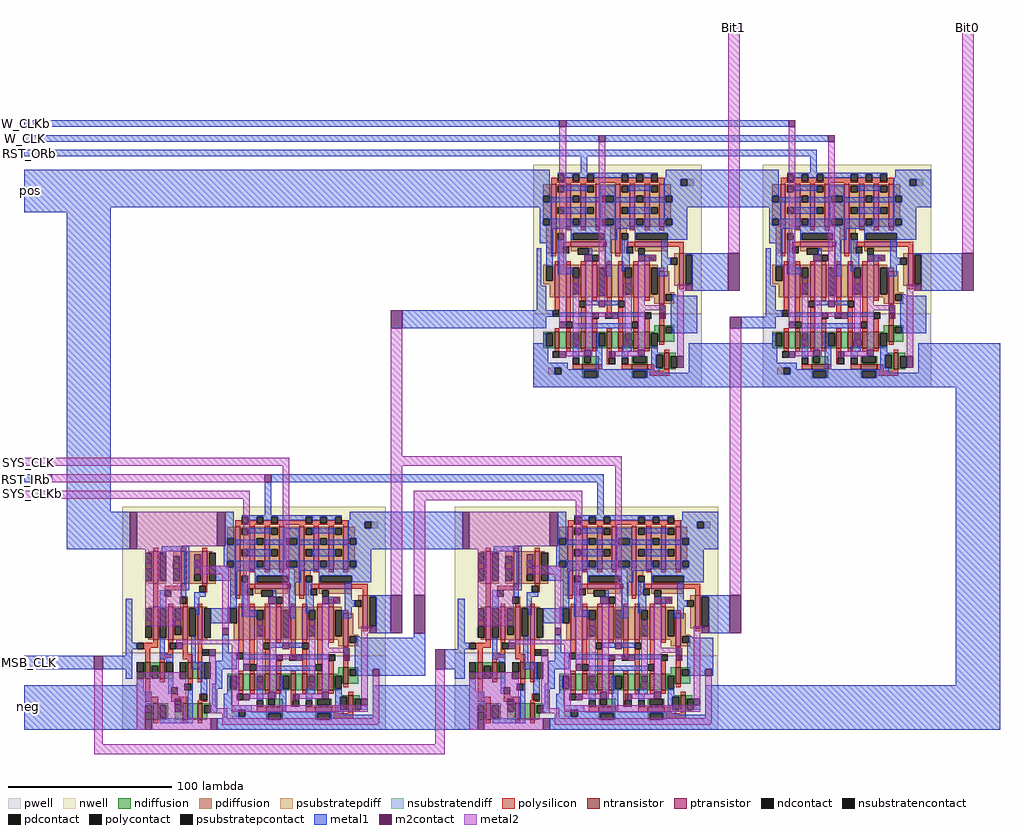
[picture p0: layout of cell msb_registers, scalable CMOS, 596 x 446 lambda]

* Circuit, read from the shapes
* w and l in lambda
.subckt msb_registers Bit0 Bit1 MSB_CLK RST_IRb RST_ORb SYS_CLK SYS_CLKb W_CLK W_CLKb neg pos
M1 n1 MSB_CLK neg neg nfet w=10 l=3
M2 n2 MSB_CLK neg neg nfet w=10 l=3
M3 n3 ToggleFlipFlop_Low_Layout_0/Clk n1 neg nfet w=10 l=3
M4 n4 n3 neg neg nfet w=10 l=3
M5 n5 n2 neg neg nfet w=10 l=3
M6 n6 n7 n4 neg nfet w=10 l=3
M7 n7 ToggleFlipFlop_Low_Layout_0/ClkB n5 neg nfet w=10 l=3
M8 n8 n9 neg neg nfet w=10 l=3
M9 n10 SYS_CLKb n8 neg nfet w=10 l=3
M10 n11 SYS_CLK n10 neg nfet w=10 l=3
M11 n9 n10 neg neg nfet w=10 l=3
M12 neg n6 n11 neg nfet w=10 l=3
M13 n12 n13 neg neg nfet w=10 l=3
M14 n14 SYS_CLK n12 neg nfet w=10 l=3
M15 n13 n14 neg neg nfet w=10 l=3
M16 n15 SYS_CLKb n14 neg nfet w=10 l=3
M17 neg n9 n15 neg nfet w=10 l=3
M18 ToggleFlipFlop_Low_Layout_0/ClkB n13 neg neg nfet w=10 l=3
M19 ToggleFlipFlop_Low_Layout_0/Clk n14 neg neg nfet w=10 l=3
M20 n16 MSB_CLK neg neg nfet w=10 l=3
M21 n17 MSB_CLK neg neg nfet w=10 l=3
M22 n18 ResetFlipFlop_Low_Layout_1/D n16 neg nfet w=10 l=3
M23 n19 n18 neg neg nfet w=10 l=3
M24 n20 n17 neg neg nfet w=10 l=3
M25 n21 n22 n19 neg nfet w=10 l=3
M26 n22 ToggleFlipFlop_Low_Layout_0/Qb n20 neg nfet w=10 l=3
M27 n23 n24 neg neg nfet w=10 l=3
M28 n25 W_CLKb n23 neg nfet w=10 l=3
M29 n26 n27 neg neg nfet w=10 l=3
M30 n28 W_CLK n25 neg nfet w=10 l=3
M31 n29 ToggleFlipFlop_Low_Layout_0/ClkB n26 neg nfet w=10 l=3
M32 n24 n25 neg neg nfet w=10 l=3
M33 neg ToggleFlipFlop_Low_Layout_0/Clk n28 neg nfet w=10 l=3
M34 n30 ToggleFlipFlop_Low_Layout_0/Clk n29 neg nfet w=10 l=3
M35 n27 n29 neg neg nfet w=10 l=3
M36 n31 n32 neg neg nfet w=10 l=3
M37 neg n21 n30 neg nfet w=10 l=3
M38 n33 W_CLK n31 neg nfet w=10 l=3
M39 n34 n35 neg neg nfet w=10 l=3
M40 n32 n33 neg neg nfet w=10 l=3
M41 n36 W_CLKb n33 neg nfet w=10 l=3
M42 n37 ToggleFlipFlop_Low_Layout_0/Clk n34 neg nfet w=10 l=3
M43 neg n24 n36 neg nfet w=10 l=3
M44 n35 n37 neg neg nfet w=10 l=3
M45 n38 ToggleFlipFlop_Low_Layout_0/ClkB n37 neg nfet w=10 l=3
M46 ResetFlipFlop_Low_Layout_0/Qb n32 neg neg nfet w=10 l=3
M47 neg n27 n38 neg nfet w=10 l=3
M48 Bit1 n33 neg neg nfet w=10 l=3
M49 ToggleFlipFlop_Low_Layout_0/Qb n35 neg neg nfet w=10 l=3
M50 ResetFlipFlop_Low_Layout_1/D n37 neg neg nfet w=10 l=3
M51 n39 n40 neg neg nfet w=10 l=3
M52 n41 W_CLKb n39 neg nfet w=10 l=3
M53 n42 W_CLK n41 neg nfet w=10 l=3
M54 n40 n41 neg neg nfet w=10 l=3
M55 neg ResetFlipFlop_Low_Layout_1/D n42 neg nfet w=10 l=3
M56 n43 n44 neg neg nfet w=10 l=3
M57 n45 W_CLK n43 neg nfet w=10 l=3
M58 n44 n45 neg neg nfet w=10 l=3
M59 n46 W_CLKb n45 neg nfet w=10 l=3
M60 neg n40 n46 neg nfet w=10 l=3
M61 ResetFlipFlop_Low_Layout_1/Qb n44 neg neg nfet w=10 l=3
M62 Bit0 n45 neg neg nfet w=10 l=3
M63 n3 MSB_CLK pos pos pfet w=20 l=3
M64 n2 MSB_CLK pos pos pfet w=20 l=3
M65 pos ToggleFlipFlop_Low_Layout_0/Clk n3 pos pfet w=20 l=3
M66 n6 n3 pos pos pfet w=20 l=3
M67 n7 n2 pos pos pfet w=20 l=3
M68 pos ToggleFlipFlop_Low_Layout_0/ClkB n7 pos pfet w=20 l=3
M69 pos n7 n6 pos pfet w=20 l=3
M70 n10 RST_IRb pos pos pfet w=42 l=3
M71 n47 n6 pos pos pfet w=20 l=3
M72 n10 SYS_CLKb n47 pos pfet w=20 l=3
M73 pos RST_IRb n10 pos pfet w=26 l=3 m=3
M74 pos n10 n9 pos pfet w=20 l=3
M75 n48 SYS_CLK n10 pos pfet w=20 l=3
M76 pos n9 n48 pos pfet w=20 l=3
M77 n49 n9 pos pos pfet w=20 l=3
M78 n14 RST_IRb pos pos pfet w=42 l=3
M79 n14 SYS_CLK n49 pos pfet w=20 l=3
M80 pos RST_IRb n14 pos pfet w=26 l=3 m=3
M81 n50 SYS_CLKb n14 pos pfet w=20 l=3
M82 pos n14 n13 pos pfet w=20 l=3
M83 pos n13 n50 pos pfet w=20 l=3
M84 ToggleFlipFlop_Low_Layout_0/ClkB n13 pos pos pfet w=20 l=3
M85 ToggleFlipFlop_Low_Layout_0/Clk n14 pos pos pfet w=20 l=3
M86 n18 MSB_CLK pos pos pfet w=20 l=3
M87 n17 MSB_CLK pos pos pfet w=20 l=3
M88 pos ResetFlipFlop_Low_Layout_1/D n18 pos pfet w=20 l=3
M89 n21 n18 pos pos pfet w=20 l=3
M90 n22 n17 pos pos pfet w=20 l=3
M91 pos ToggleFlipFlop_Low_Layout_0/Qb n22 pos pfet w=20 l=3
M92 pos n22 n21 pos pfet w=20 l=3
M93 n25 RST_ORb pos pos pfet w=42 l=3
M94 n51 ToggleFlipFlop_Low_Layout_0/Clk pos pos pfet w=20 l=3
M95 n25 W_CLKb n51 pos pfet w=20 l=3
M96 pos RST_ORb n25 pos pfet w=26 l=3 m=3
M97 n29 RST_IRb pos pos pfet w=42 l=3
M98 n52 n21 pos pos pfet w=20 l=3
M99 pos n25 n24 pos pfet w=20 l=3
M100 n53 W_CLK n25 pos pfet w=20 l=3
M101 n29 ToggleFlipFlop_Low_Layout_0/ClkB n52 pos pfet w=20 l=3
M102 pos RST_IRb n29 pos pfet w=26 l=3 m=3
M103 pos n29 n27 pos pfet w=20 l=3
M104 pos n24 n53 pos pfet w=20 l=3
M105 n54 ToggleFlipFlop_Low_Layout_0/Clk n29 pos pfet w=20 l=3
M106 n55 n24 pos pos pfet w=20 l=3
M107 pos n27 n54 pos pfet w=20 l=3
M108 n33 RST_ORb pos pos pfet w=42 l=3
M109 n33 W_CLK n55 pos pfet w=20 l=3
M110 n56 n27 pos pos pfet w=20 l=3
M111 pos RST_ORb n33 pos pfet w=26 l=3 m=3
M112 n37 RST_IRb pos pos pfet w=42 l=3
M113 n57 W_CLKb n33 pos pfet w=20 l=3
M114 n37 ToggleFlipFlop_Low_Layout_0/Clk n56 pos pfet w=20 l=3
M115 pos n33 n32 pos pfet w=20 l=3
M116 pos n32 n57 pos pfet w=20 l=3
M117 pos RST_IRb n37 pos pfet w=26 l=3 m=3
M118 n58 ToggleFlipFlop_Low_Layout_0/ClkB n37 pos pfet w=20 l=3
M119 pos n37 n35 pos pfet w=20 l=3
M120 ResetFlipFlop_Low_Layout_0/Qb n32 pos pos pfet w=20 l=3
M121 pos n35 n58 pos pfet w=20 l=3
M122 ToggleFlipFlop_Low_Layout_0/Qb n35 pos pos pfet w=20 l=3
M123 Bit1 n33 pos pos pfet w=20 l=3
M124 ResetFlipFlop_Low_Layout_1/D n37 pos pos pfet w=20 l=3
M125 n41 RST_ORb pos pos pfet w=42 l=3
M126 n59 ResetFlipFlop_Low_Layout_1/D pos pos pfet w=20 l=3
M127 n41 W_CLKb n59 pos pfet w=20 l=3
M128 pos RST_ORb n41 pos pfet w=26 l=3 m=3
M129 pos n41 n40 pos pfet w=20 l=3
M130 n60 W_CLK n41 pos pfet w=20 l=3
M131 pos n40 n60 pos pfet w=20 l=3
M132 n61 n40 pos pos pfet w=20 l=3
M133 n45 RST_ORb pos pos pfet w=42 l=3
M134 n45 W_CLK n61 pos pfet w=20 l=3
M135 pos RST_ORb n45 pos pfet w=26 l=3 m=3
M136 n62 W_CLKb n45 pos pfet w=20 l=3
M137 pos n45 n44 pos pfet w=20 l=3
M138 pos n44 n62 pos pfet w=20 l=3
M139 ResetFlipFlop_Low_Layout_1/Qb n44 pos pos pfet w=20 l=3
M140 Bit0 n45 pos pos pfet w=20 l=3
.ends

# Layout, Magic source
magic
tech scmos
<< metal1 >>
rect -295 159 32 163
rect 36 159 172 163
rect -295 150 56 154
rect 60 150 196 154
rect -295 141 189 145
rect 45 136 49 141
rect 185 136 189 141
rect -295 110 17 133
rect 119 110 156 133
rect -295 107 -242 110
rect -295 -58 -283 -53
rect -269 -76 -242 107
rect 116 59 135 82
rect 256 59 278 82
rect -64 36 20 47
rect 143 36 164 43
rect 119 0 156 27
rect 259 0 301 27
rect -144 -58 59 -53
rect -148 -74 -144 -58
rect 55 -73 59 -58
rect -269 -99 -233 -76
rect -75 -99 -29 -76
rect -80 -150 -71 -127
rect 125 -150 136 -127
rect -57 -153 -50 -150
rect -295 -172 -252 -164
rect -247 -172 -229 -164
rect -233 -178 -229 -172
rect -78 -176 -50 -153
rect -38 -172 -26 -160
rect -32 -178 -26 -172
rect 274 -182 301 0
rect -295 -209 -228 -182
rect -76 -209 -29 -182
rect 128 -209 301 -182
<< m2contact >>
rect 32 159 36 163
rect 172 159 176 163
rect 56 150 60 154
rect 196 150 200 154
rect -283 -58 -278 -53
rect 135 59 142 82
rect 278 59 285 82
rect -71 36 -64 47
rect 136 36 143 43
rect -148 -58 -144 -53
rect -71 -150 -64 -127
rect -57 -150 -50 -127
rect 136 -150 143 -127
rect -252 -172 -247 -164
rect -44 -172 -38 -160
<< metal2 >>
rect 32 136 36 159
rect 56 133 60 150
rect 135 82 142 222
rect 172 136 176 159
rect 196 134 200 150
rect 278 82 285 222
rect -71 -42 -64 36
rect -295 -48 -133 -43
rect -278 -58 -148 -53
rect -295 -68 -157 -63
rect -161 -74 -157 -68
rect -137 -74 -133 -48
rect -71 -48 70 -42
rect -71 -127 -64 -48
rect -57 -69 46 -63
rect -57 -127 -50 -69
rect 42 -75 46 -69
rect 66 -75 70 -48
rect 136 -127 143 36
rect -252 -218 -247 -172
rect -44 -218 -38 -172
rect -252 -224 -38 -218
use ResetFlipFlop_Low_Layout  ResetFlipFlop_Low_Layout_0
transform 1 0 -197 0 1 344
box 213 -344 316 -208
use ResetFlipFlop_Low_Layout  ResetFlipFlop_Low_Layout_1
transform 1 0 -57 0 1 344
box 213 -344 316 -208
use ToggleFlipFlop_Low_Layout  ToggleFlipFlop_Low_Layout_1
transform 1 0 -390 0 1 135
box 155 -344 316 -208
use ToggleFlipFlop_Low_Layout  ToggleFlipFlop_Low_Layout_0
transform 1 0 -187 0 1 135
box 155 -344 316 -208
<< labels >>
rlabel metal1 -291 120 -291 120 7 pos
rlabel metal1 -292 -195 -292 -195 7 neg
rlabel metal1 -293 -168 -293 -168 7 MSB_CLK
rlabel metal1 -294 -56 -294 -56 7 RST_IRb
rlabel metal2 -294 -65 -294 -65 7 SYS_CLKb
rlabel metal2 -294 -46 -294 -46 7 SYS_CLK
rlabel metal1 -294 143 -294 143 7 RST_ORb
rlabel metal1 -294 152 -294 152 7 W_CLK
rlabel metal1 -294 161 -294 161 7 W_CLKb
rlabel metal2 281 219 281 220 1 Bit0
rlabel metal2 138 219 138 220 1 Bit1
<< end >>

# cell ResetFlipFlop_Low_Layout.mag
magic
tech scmos
<< nwell >>
rect 213 -299 316 -208
<< pwell >>
rect 213 -344 316 -299
<< ntransistor >>
rect 226 -320 229 -310
rect 233 -320 236 -310
rect 242 -320 245 -310
rect 249 -320 252 -310
rect 258 -320 261 -310
rect 265 -320 268 -310
rect 274 -320 277 -310
rect 281 -320 284 -310
rect 290 -316 293 -306
rect 243 -333 253 -330
rect 273 -333 283 -330
rect 293 -333 296 -323
<< ptransistor >>
rect 224 -262 227 -220
rect 233 -246 236 -220
rect 242 -246 245 -220
rect 251 -246 254 -220
rect 236 -258 256 -255
rect 263 -262 266 -220
rect 272 -246 275 -220
rect 281 -246 284 -220
rect 290 -246 293 -220
rect 275 -258 295 -255
rect 226 -289 229 -269
rect 233 -289 236 -269
rect 242 -289 245 -269
rect 249 -289 252 -269
rect 258 -289 261 -269
rect 265 -289 268 -269
rect 274 -289 277 -269
rect 281 -289 284 -269
rect 290 -293 293 -273
rect 302 -282 305 -262
<< ndiffusion >>
rect 287 -310 290 -306
rect 219 -311 226 -310
rect 219 -319 221 -311
rect 225 -319 226 -311
rect 219 -320 226 -319
rect 229 -320 233 -310
rect 236 -315 242 -310
rect 236 -319 237 -315
rect 241 -319 242 -315
rect 236 -320 242 -319
rect 245 -320 249 -310
rect 252 -311 258 -310
rect 252 -319 253 -311
rect 257 -319 258 -311
rect 252 -320 258 -319
rect 261 -320 265 -310
rect 268 -315 274 -310
rect 268 -319 269 -315
rect 273 -319 274 -315
rect 268 -320 274 -319
rect 277 -320 281 -310
rect 284 -311 290 -310
rect 284 -319 285 -311
rect 289 -316 290 -311
rect 293 -307 299 -306
rect 293 -311 294 -307
rect 298 -311 299 -307
rect 293 -316 299 -311
rect 284 -320 289 -319
rect 243 -329 244 -325
rect 248 -329 253 -325
rect 243 -330 253 -329
rect 290 -324 293 -323
rect 273 -329 274 -325
rect 282 -329 283 -325
rect 273 -330 283 -329
rect 292 -332 293 -324
rect 290 -333 293 -332
rect 296 -325 300 -323
rect 296 -332 297 -325
rect 296 -333 300 -332
rect 243 -334 253 -333
rect 243 -338 244 -334
rect 252 -338 253 -334
rect 273 -334 283 -333
rect 273 -338 274 -334
rect 282 -338 283 -334
<< pdiffusion >>
rect 219 -227 224 -220
rect 223 -231 224 -227
rect 219 -241 224 -231
rect 223 -245 224 -241
rect 221 -262 224 -245
rect 227 -221 233 -220
rect 227 -225 228 -221
rect 232 -225 233 -221
rect 227 -234 233 -225
rect 227 -238 228 -234
rect 232 -238 233 -234
rect 227 -246 233 -238
rect 236 -227 242 -220
rect 236 -231 237 -227
rect 241 -231 242 -227
rect 236 -241 242 -231
rect 236 -245 237 -241
rect 241 -245 242 -241
rect 236 -246 242 -245
rect 245 -221 251 -220
rect 245 -225 246 -221
rect 250 -225 251 -221
rect 245 -234 251 -225
rect 245 -238 246 -234
rect 250 -238 251 -234
rect 245 -246 251 -238
rect 254 -227 263 -220
rect 254 -231 255 -227
rect 262 -231 263 -227
rect 254 -241 263 -231
rect 254 -245 255 -241
rect 262 -245 263 -241
rect 254 -246 263 -245
rect 227 -250 231 -246
rect 227 -254 228 -250
rect 236 -254 237 -250
rect 227 -262 230 -254
rect 236 -255 256 -254
rect 236 -259 256 -258
rect 236 -261 240 -259
rect 247 -261 256 -259
rect 260 -262 263 -246
rect 266 -221 272 -220
rect 266 -225 267 -221
rect 271 -225 272 -221
rect 266 -234 272 -225
rect 266 -238 267 -234
rect 271 -238 272 -234
rect 266 -246 272 -238
rect 275 -227 281 -220
rect 275 -231 276 -227
rect 280 -231 281 -227
rect 275 -241 281 -231
rect 275 -245 276 -241
rect 280 -245 281 -241
rect 275 -246 281 -245
rect 284 -221 290 -220
rect 284 -225 285 -221
rect 289 -225 290 -221
rect 284 -234 290 -225
rect 284 -238 285 -234
rect 289 -238 290 -234
rect 284 -246 290 -238
rect 293 -227 297 -220
rect 293 -231 294 -227
rect 293 -241 297 -231
rect 293 -245 294 -241
rect 293 -246 297 -245
rect 266 -250 270 -246
rect 266 -254 267 -250
rect 275 -254 276 -250
rect 266 -262 269 -254
rect 275 -255 295 -254
rect 275 -259 295 -258
rect 275 -261 277 -259
rect 281 -261 295 -259
rect 299 -265 302 -262
rect 301 -269 302 -265
rect 219 -270 226 -269
rect 219 -279 221 -270
rect 225 -279 226 -270
rect 219 -281 226 -279
rect 223 -289 226 -281
rect 229 -289 233 -269
rect 236 -271 242 -269
rect 236 -277 237 -271
rect 241 -277 242 -271
rect 236 -281 242 -277
rect 236 -287 237 -281
rect 241 -287 242 -281
rect 236 -289 242 -287
rect 245 -289 249 -269
rect 252 -271 258 -269
rect 252 -288 253 -271
rect 257 -288 258 -271
rect 252 -289 258 -288
rect 261 -289 265 -269
rect 268 -271 274 -269
rect 268 -277 269 -271
rect 273 -277 274 -271
rect 268 -281 274 -277
rect 268 -287 269 -281
rect 273 -287 274 -281
rect 268 -289 274 -287
rect 277 -289 281 -269
rect 284 -271 289 -269
rect 284 -287 285 -271
rect 289 -287 290 -273
rect 284 -289 290 -287
rect 287 -293 290 -289
rect 293 -286 296 -273
rect 299 -282 302 -269
rect 305 -263 308 -262
rect 305 -281 306 -263
rect 305 -282 308 -281
rect 293 -287 299 -286
rect 293 -291 294 -287
rect 298 -291 299 -287
rect 293 -293 299 -291
<< ndcontact >>
rect 221 -319 225 -311
rect 237 -319 241 -315
rect 253 -319 257 -311
rect 269 -319 273 -315
rect 285 -319 289 -311
rect 294 -311 298 -307
rect 244 -329 248 -325
rect 274 -329 282 -325
rect 288 -332 292 -324
rect 297 -332 301 -325
rect 244 -338 252 -334
rect 274 -338 282 -334
<< pdcontact >>
rect 219 -231 223 -227
rect 219 -245 223 -241
rect 228 -225 232 -221
rect 228 -238 232 -234
rect 237 -231 241 -227
rect 237 -245 241 -241
rect 246 -225 250 -221
rect 246 -238 250 -234
rect 255 -231 262 -227
rect 255 -245 262 -241
rect 228 -254 232 -250
rect 237 -254 256 -250
rect 240 -263 247 -259
rect 267 -225 271 -221
rect 267 -238 271 -234
rect 276 -231 280 -227
rect 276 -245 280 -241
rect 285 -225 289 -221
rect 285 -238 289 -234
rect 294 -231 298 -227
rect 294 -245 298 -241
rect 267 -254 271 -250
rect 276 -254 295 -250
rect 277 -263 281 -259
rect 297 -269 301 -265
rect 221 -279 225 -270
rect 237 -277 241 -271
rect 237 -287 241 -281
rect 253 -288 257 -271
rect 269 -277 273 -271
rect 269 -287 273 -281
rect 285 -287 289 -271
rect 306 -281 310 -263
rect 294 -291 298 -287
<< psubstratepdiff >>
rect 222 -336 226 -332
<< nsubstratendiff >>
rect 307 -221 311 -217
<< psubstratepcontact >>
rect 226 -336 230 -332
<< nsubstratencontact >>
rect 303 -221 307 -217
<< polysilicon >>
rect 224 -218 228 -216
rect 232 -218 237 -216
rect 241 -218 246 -216
rect 250 -218 267 -216
rect 271 -218 276 -216
rect 280 -218 285 -216
rect 289 -218 293 -216
rect 224 -219 293 -218
rect 224 -220 227 -219
rect 233 -220 236 -219
rect 242 -220 245 -219
rect 251 -220 254 -219
rect 263 -220 266 -219
rect 272 -220 275 -219
rect 281 -220 284 -219
rect 290 -220 293 -219
rect 233 -248 236 -246
rect 242 -248 245 -246
rect 251 -248 254 -246
rect 231 -258 236 -255
rect 256 -258 258 -255
rect 224 -264 227 -262
rect 272 -248 275 -246
rect 281 -248 284 -246
rect 290 -248 293 -246
rect 270 -258 275 -255
rect 295 -258 305 -255
rect 263 -264 266 -262
rect 302 -262 305 -258
rect 226 -269 229 -267
rect 233 -269 236 -267
rect 242 -269 245 -267
rect 249 -269 252 -267
rect 258 -269 261 -267
rect 265 -269 268 -267
rect 274 -269 277 -267
rect 281 -269 284 -264
rect 290 -273 293 -271
rect 226 -297 229 -289
rect 233 -304 236 -289
rect 242 -291 245 -289
rect 249 -291 252 -289
rect 226 -310 229 -308
rect 233 -310 236 -308
rect 242 -310 245 -295
rect 258 -298 261 -289
rect 265 -291 268 -289
rect 249 -310 252 -302
rect 258 -310 261 -308
rect 265 -310 268 -295
rect 274 -304 277 -289
rect 281 -291 284 -289
rect 302 -284 305 -282
rect 290 -294 293 -293
rect 274 -310 277 -308
rect 281 -310 284 -302
rect 290 -306 293 -298
rect 290 -318 293 -316
rect 226 -322 229 -320
rect 233 -322 236 -320
rect 242 -322 245 -320
rect 249 -322 252 -320
rect 258 -326 261 -320
rect 265 -322 268 -320
rect 274 -322 277 -320
rect 281 -322 284 -320
rect 293 -323 296 -321
rect 258 -330 259 -326
rect 237 -333 243 -330
rect 253 -333 255 -330
rect 267 -333 273 -330
rect 283 -333 287 -330
rect 284 -334 287 -333
rect 293 -334 296 -333
rect 284 -337 296 -334
<< polycontact >>
rect 228 -218 232 -214
rect 237 -218 241 -214
rect 246 -218 250 -214
rect 267 -218 271 -214
rect 276 -218 280 -214
rect 285 -218 289 -214
rect 231 -262 235 -258
rect 270 -262 274 -258
rect 249 -267 253 -263
rect 284 -267 288 -263
rect 225 -301 229 -297
rect 241 -295 245 -291
rect 233 -308 237 -304
rect 249 -302 253 -298
rect 257 -302 261 -298
rect 265 -295 269 -291
rect 290 -298 294 -294
rect 273 -308 277 -304
rect 281 -302 285 -298
rect 225 -326 229 -322
rect 237 -330 241 -326
rect 259 -330 263 -326
rect 267 -330 271 -326
<< metal1 >>
rect 213 -227 223 -211
rect 242 -213 246 -208
rect 228 -214 289 -213
rect 232 -216 237 -214
rect 241 -216 246 -214
rect 250 -216 267 -214
rect 271 -216 276 -214
rect 280 -216 285 -214
rect 294 -216 316 -211
rect 293 -217 316 -216
rect 293 -221 303 -217
rect 307 -221 316 -217
rect 232 -224 246 -221
rect 254 -227 263 -221
rect 271 -224 285 -221
rect 293 -227 316 -221
rect 213 -231 219 -227
rect 223 -231 237 -228
rect 254 -228 255 -227
rect 241 -231 255 -228
rect 262 -228 263 -227
rect 262 -231 276 -228
rect 293 -228 294 -227
rect 280 -231 294 -228
rect 298 -231 316 -227
rect 213 -234 224 -231
rect 217 -241 224 -234
rect 232 -238 246 -234
rect 254 -241 263 -231
rect 293 -234 316 -231
rect 271 -238 285 -234
rect 293 -241 307 -234
rect 217 -245 219 -241
rect 223 -245 237 -241
rect 241 -245 255 -241
rect 262 -245 276 -241
rect 280 -245 294 -241
rect 298 -245 307 -241
rect 217 -247 307 -245
rect 217 -256 225 -247
rect 236 -250 264 -247
rect 275 -250 307 -247
rect 215 -282 218 -259
rect 221 -270 225 -256
rect 236 -254 237 -250
rect 256 -254 264 -250
rect 275 -254 276 -250
rect 295 -254 307 -250
rect 228 -258 232 -254
rect 228 -262 231 -258
rect 228 -271 232 -262
rect 247 -263 249 -259
rect 228 -275 237 -271
rect 215 -297 221 -282
rect 257 -276 261 -254
rect 267 -258 271 -254
rect 267 -262 270 -258
rect 267 -271 272 -262
rect 281 -267 284 -263
rect 291 -265 295 -254
rect 306 -263 313 -262
rect 291 -269 297 -265
rect 291 -271 295 -269
rect 267 -273 269 -271
rect 289 -276 295 -271
rect 310 -285 313 -263
rect 298 -288 300 -287
rect 298 -291 313 -288
rect 245 -294 253 -291
rect 257 -294 265 -291
rect 215 -301 225 -297
rect 229 -301 249 -298
rect 215 -308 221 -301
rect 265 -301 281 -298
rect 237 -308 273 -305
rect 297 -307 313 -291
rect 298 -311 313 -307
rect 219 -317 221 -311
rect 213 -319 221 -317
rect 213 -329 222 -319
rect 237 -326 241 -319
rect 251 -319 253 -311
rect 213 -332 234 -329
rect 213 -336 226 -332
rect 230 -333 234 -332
rect 251 -333 255 -319
rect 267 -322 273 -319
rect 267 -326 271 -322
rect 285 -323 289 -319
rect 285 -324 290 -323
rect 285 -332 288 -324
rect 285 -333 290 -332
rect 230 -334 290 -333
rect 230 -336 244 -334
rect 213 -338 244 -336
rect 252 -338 274 -334
rect 282 -335 290 -334
rect 308 -335 316 -317
rect 282 -338 316 -335
rect 213 -344 316 -338
<< m2contact >>
rect 244 -267 249 -263
rect 237 -281 241 -277
rect 277 -267 281 -263
rect 269 -281 273 -277
rect 306 -285 310 -281
rect 253 -295 257 -291
rect 261 -302 265 -298
rect 290 -302 294 -298
rect 229 -308 233 -304
rect 237 -315 241 -311
rect 229 -326 233 -322
rect 269 -315 273 -311
rect 244 -325 248 -321
rect 259 -326 263 -322
rect 277 -325 281 -321
rect 301 -332 305 -325
<< metal2 >>
rect 229 -304 233 -208
rect 237 -311 241 -281
rect 237 -319 241 -315
rect 245 -298 249 -267
rect 253 -291 257 -208
rect 284 -267 288 -263
rect 245 -301 261 -298
rect 245 -321 249 -301
rect 269 -311 273 -281
rect 269 -319 273 -315
rect 277 -294 281 -267
rect 301 -285 306 -281
rect 277 -297 294 -294
rect 233 -325 244 -322
rect 248 -325 249 -321
rect 277 -321 281 -297
rect 290 -298 294 -297
rect 263 -325 277 -322
rect 301 -325 305 -285
<< labels >>
rlabel metal1 314 -344 316 -317 1 Vneg
rlabel pwell 213 -344 215 -317 3 Vneg
rlabel metal1 315 -234 316 -211 1 Vpos
rlabel metal1 213 -234 214 -211 3 Vpos
rlabel metal1 312 -311 313 -288 1 Qb
rlabel metal1 312 -285 313 -262 1 Q
rlabel metal2 229 -209 233 -208 1 ClkB
rlabel metal2 253 -209 257 -208 1 Clk
rlabel metal1 242 -209 246 -208 1 RstB
rlabel metal1 215 -308 216 -259 3 D
<< end >>

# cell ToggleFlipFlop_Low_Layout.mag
magic
tech scmos
<< nwell >>
rect 155 -297 316 -208
rect 244 -299 316 -297
<< pwell >>
rect 155 -299 244 -297
rect 155 -344 316 -299
<< ntransistor >>
rect 169 -313 172 -303
rect 178 -313 181 -303
rect 195 -313 198 -303
rect 201 -313 204 -303
rect 226 -320 229 -310
rect 233 -320 236 -310
rect 242 -320 245 -310
rect 249 -320 252 -310
rect 258 -320 261 -310
rect 265 -320 268 -310
rect 274 -320 277 -310
rect 281 -320 284 -310
rect 290 -316 293 -306
rect 174 -338 177 -328
rect 192 -338 195 -328
rect 201 -338 204 -328
rect 243 -333 253 -330
rect 273 -333 283 -330
rect 293 -333 296 -323
<< ptransistor >>
rect 174 -255 177 -235
rect 191 -255 194 -235
rect 204 -255 207 -235
rect 224 -262 227 -220
rect 233 -246 236 -220
rect 242 -246 245 -220
rect 251 -246 254 -220
rect 236 -258 256 -255
rect 263 -262 266 -220
rect 272 -246 275 -220
rect 281 -246 284 -220
rect 290 -246 293 -220
rect 275 -258 295 -255
rect 174 -289 177 -269
rect 183 -289 186 -269
rect 192 -289 195 -269
rect 201 -289 204 -269
rect 226 -289 229 -269
rect 233 -289 236 -269
rect 242 -289 245 -269
rect 249 -289 252 -269
rect 258 -289 261 -269
rect 265 -289 268 -269
rect 274 -289 277 -269
rect 281 -289 284 -269
rect 290 -293 293 -273
rect 302 -282 305 -262
<< ndiffusion >>
rect 168 -309 169 -303
rect 164 -313 169 -309
rect 172 -305 178 -303
rect 172 -313 173 -305
rect 177 -313 178 -305
rect 181 -309 182 -303
rect 181 -313 186 -309
rect 194 -309 195 -303
rect 190 -313 195 -309
rect 198 -313 201 -303
rect 204 -313 205 -303
rect 287 -310 290 -306
rect 219 -311 226 -310
rect 219 -319 221 -311
rect 225 -319 226 -311
rect 219 -320 226 -319
rect 229 -320 233 -310
rect 236 -315 242 -310
rect 236 -319 237 -315
rect 241 -319 242 -315
rect 236 -320 242 -319
rect 245 -320 249 -310
rect 252 -311 258 -310
rect 252 -319 253 -311
rect 257 -319 258 -311
rect 252 -320 258 -319
rect 261 -320 265 -310
rect 268 -315 274 -310
rect 268 -319 269 -315
rect 273 -319 274 -315
rect 268 -320 274 -319
rect 277 -320 281 -310
rect 284 -311 290 -310
rect 284 -319 285 -311
rect 289 -316 290 -311
rect 293 -307 299 -306
rect 293 -311 294 -307
rect 298 -311 299 -307
rect 293 -316 299 -311
rect 284 -320 289 -319
rect 169 -329 174 -328
rect 173 -333 174 -329
rect 169 -338 174 -333
rect 177 -329 183 -328
rect 177 -337 178 -329
rect 182 -337 183 -329
rect 177 -338 183 -337
rect 187 -329 192 -328
rect 191 -333 192 -329
rect 187 -338 192 -333
rect 195 -338 201 -328
rect 204 -329 209 -328
rect 204 -334 205 -329
rect 243 -329 244 -325
rect 248 -329 253 -325
rect 243 -330 253 -329
rect 290 -324 293 -323
rect 273 -329 274 -325
rect 282 -329 283 -325
rect 273 -330 283 -329
rect 204 -338 207 -334
rect 292 -332 293 -324
rect 290 -333 293 -332
rect 296 -325 300 -323
rect 296 -332 297 -325
rect 296 -333 300 -332
rect 243 -334 253 -333
rect 243 -338 244 -334
rect 252 -338 253 -334
rect 273 -334 283 -333
rect 273 -338 274 -334
rect 282 -338 283 -334
<< pdiffusion >>
rect 219 -227 224 -220
rect 223 -231 224 -227
rect 171 -236 174 -235
rect 173 -242 174 -236
rect 169 -246 174 -242
rect 173 -253 174 -246
rect 169 -254 174 -253
rect 171 -255 174 -254
rect 177 -236 182 -235
rect 177 -253 178 -236
rect 177 -255 182 -253
rect 186 -238 191 -235
rect 190 -242 191 -238
rect 186 -246 191 -242
rect 190 -253 191 -246
rect 186 -255 191 -253
rect 194 -241 204 -235
rect 194 -245 199 -241
rect 203 -245 204 -241
rect 194 -249 204 -245
rect 194 -253 199 -249
rect 203 -253 204 -249
rect 194 -255 204 -253
rect 207 -236 210 -235
rect 207 -253 208 -236
rect 219 -241 224 -231
rect 223 -245 224 -241
rect 207 -255 212 -253
rect 221 -262 224 -245
rect 227 -221 233 -220
rect 227 -225 228 -221
rect 232 -225 233 -221
rect 227 -234 233 -225
rect 227 -238 228 -234
rect 232 -238 233 -234
rect 227 -246 233 -238
rect 236 -227 242 -220
rect 236 -231 237 -227
rect 241 -231 242 -227
rect 236 -241 242 -231
rect 236 -245 237 -241
rect 241 -245 242 -241
rect 236 -246 242 -245
rect 245 -221 251 -220
rect 245 -225 246 -221
rect 250 -225 251 -221
rect 245 -234 251 -225
rect 245 -238 246 -234
rect 250 -238 251 -234
rect 245 -246 251 -238
rect 254 -227 263 -220
rect 254 -231 255 -227
rect 262 -231 263 -227
rect 254 -241 263 -231
rect 254 -245 255 -241
rect 262 -245 263 -241
rect 254 -246 263 -245
rect 227 -250 231 -246
rect 227 -254 228 -250
rect 236 -254 237 -250
rect 227 -262 230 -254
rect 236 -255 256 -254
rect 236 -259 256 -258
rect 236 -261 240 -259
rect 247 -261 256 -259
rect 260 -262 263 -246
rect 266 -221 272 -220
rect 266 -225 267 -221
rect 271 -225 272 -221
rect 266 -234 272 -225
rect 266 -238 267 -234
rect 271 -238 272 -234
rect 266 -246 272 -238
rect 275 -227 281 -220
rect 275 -231 276 -227
rect 280 -231 281 -227
rect 275 -241 281 -231
rect 275 -245 276 -241
rect 280 -245 281 -241
rect 275 -246 281 -245
rect 284 -221 290 -220
rect 284 -225 285 -221
rect 289 -225 290 -221
rect 284 -234 290 -225
rect 284 -238 285 -234
rect 289 -238 290 -234
rect 284 -246 290 -238
rect 293 -227 297 -220
rect 293 -231 294 -227
rect 293 -241 297 -231
rect 293 -245 294 -241
rect 293 -246 297 -245
rect 266 -250 270 -246
rect 266 -254 267 -250
rect 275 -254 276 -250
rect 266 -262 269 -254
rect 275 -255 295 -254
rect 275 -259 295 -258
rect 275 -261 277 -259
rect 281 -261 295 -259
rect 299 -265 302 -262
rect 301 -269 302 -265
rect 171 -270 174 -269
rect 173 -277 174 -270
rect 169 -281 174 -277
rect 173 -288 174 -281
rect 171 -289 174 -288
rect 177 -270 183 -269
rect 177 -288 178 -270
rect 182 -288 183 -270
rect 177 -289 183 -288
rect 186 -270 192 -269
rect 186 -277 187 -270
rect 191 -277 192 -270
rect 186 -281 192 -277
rect 186 -286 187 -281
rect 191 -286 192 -281
rect 186 -289 192 -286
rect 195 -270 201 -269
rect 195 -287 196 -270
rect 200 -287 201 -270
rect 195 -289 201 -287
rect 204 -270 207 -269
rect 219 -270 226 -269
rect 204 -288 205 -270
rect 219 -279 221 -270
rect 225 -279 226 -270
rect 204 -289 207 -288
rect 223 -289 226 -279
rect 229 -289 233 -269
rect 236 -271 242 -269
rect 236 -277 237 -271
rect 241 -277 242 -271
rect 236 -281 242 -277
rect 236 -287 237 -281
rect 241 -287 242 -281
rect 236 -289 242 -287
rect 245 -289 249 -269
rect 252 -271 258 -269
rect 252 -288 253 -271
rect 257 -288 258 -271
rect 252 -289 258 -288
rect 261 -289 265 -269
rect 268 -271 274 -269
rect 268 -277 269 -271
rect 273 -277 274 -271
rect 268 -281 274 -277
rect 268 -287 269 -281
rect 273 -287 274 -281
rect 268 -289 274 -287
rect 277 -289 281 -269
rect 284 -271 289 -269
rect 284 -287 285 -271
rect 289 -287 290 -273
rect 284 -289 290 -287
rect 287 -293 290 -289
rect 293 -286 296 -273
rect 299 -282 302 -269
rect 305 -263 308 -262
rect 305 -281 306 -263
rect 305 -282 308 -281
rect 293 -287 299 -286
rect 293 -291 294 -287
rect 298 -291 299 -287
rect 293 -293 299 -291
<< ndcontact >>
rect 164 -309 168 -303
rect 173 -313 177 -305
rect 182 -309 186 -303
rect 190 -309 194 -303
rect 205 -313 209 -303
rect 221 -319 225 -311
rect 237 -319 241 -315
rect 253 -319 257 -311
rect 269 -319 273 -315
rect 285 -319 289 -311
rect 294 -311 298 -307
rect 169 -333 173 -329
rect 178 -337 182 -329
rect 187 -333 191 -329
rect 205 -334 209 -329
rect 244 -329 248 -325
rect 274 -329 282 -325
rect 288 -332 292 -324
rect 297 -332 301 -325
rect 244 -338 252 -334
rect 274 -338 282 -334
<< pdcontact >>
rect 219 -231 223 -227
rect 169 -242 173 -236
rect 169 -253 173 -246
rect 178 -253 182 -236
rect 186 -242 190 -238
rect 186 -253 190 -246
rect 199 -245 203 -241
rect 199 -253 203 -249
rect 208 -253 212 -236
rect 219 -245 223 -241
rect 228 -225 232 -221
rect 228 -238 232 -234
rect 237 -231 241 -227
rect 237 -245 241 -241
rect 246 -225 250 -221
rect 246 -238 250 -234
rect 255 -231 262 -227
rect 255 -245 262 -241
rect 228 -254 232 -250
rect 237 -254 256 -250
rect 240 -263 247 -259
rect 267 -225 271 -221
rect 267 -238 271 -234
rect 276 -231 280 -227
rect 276 -245 280 -241
rect 285 -225 289 -221
rect 285 -238 289 -234
rect 294 -231 298 -227
rect 294 -245 298 -241
rect 267 -254 271 -250
rect 276 -254 295 -250
rect 277 -263 281 -259
rect 297 -269 301 -265
rect 169 -277 173 -270
rect 169 -288 173 -281
rect 178 -288 182 -270
rect 187 -277 191 -270
rect 187 -286 191 -281
rect 196 -287 200 -270
rect 205 -288 209 -270
rect 221 -279 225 -270
rect 237 -277 241 -271
rect 237 -287 241 -281
rect 253 -288 257 -271
rect 269 -277 273 -271
rect 269 -287 273 -281
rect 285 -287 289 -271
rect 306 -281 310 -263
rect 294 -291 298 -287
<< psubstratepdiff >>
rect 222 -336 226 -332
<< nsubstratendiff >>
rect 307 -221 311 -217
<< psubstratepcontact >>
rect 226 -336 230 -332
<< nsubstratencontact >>
rect 303 -221 307 -217
<< polysilicon >>
rect 224 -218 228 -216
rect 232 -218 237 -216
rect 241 -218 246 -216
rect 250 -218 267 -216
rect 271 -218 276 -216
rect 280 -218 285 -216
rect 289 -218 293 -216
rect 224 -219 293 -218
rect 224 -220 227 -219
rect 233 -220 236 -219
rect 242 -220 245 -219
rect 251 -220 254 -219
rect 263 -220 266 -219
rect 272 -220 275 -219
rect 281 -220 284 -219
rect 290 -220 293 -219
rect 174 -235 177 -233
rect 191 -235 194 -233
rect 204 -235 207 -233
rect 174 -269 177 -255
rect 191 -256 194 -255
rect 204 -256 207 -255
rect 181 -259 194 -256
rect 206 -260 207 -256
rect 233 -248 236 -246
rect 242 -248 245 -246
rect 251 -248 254 -246
rect 231 -258 236 -255
rect 256 -258 258 -255
rect 194 -267 195 -263
rect 224 -264 227 -262
rect 272 -248 275 -246
rect 281 -248 284 -246
rect 290 -248 293 -246
rect 270 -258 275 -255
rect 295 -258 305 -255
rect 263 -264 266 -262
rect 302 -262 305 -258
rect 183 -269 186 -267
rect 192 -269 195 -267
rect 201 -269 204 -267
rect 226 -269 229 -267
rect 233 -269 236 -267
rect 242 -269 245 -267
rect 249 -269 252 -267
rect 258 -269 261 -267
rect 265 -269 268 -267
rect 274 -269 277 -267
rect 281 -269 284 -264
rect 290 -273 293 -271
rect 174 -291 177 -289
rect 168 -294 177 -291
rect 183 -291 186 -289
rect 168 -295 172 -294
rect 169 -303 172 -295
rect 183 -295 184 -291
rect 183 -297 186 -295
rect 178 -300 186 -297
rect 192 -298 195 -289
rect 178 -303 181 -300
rect 192 -301 198 -298
rect 195 -303 198 -301
rect 201 -303 204 -289
rect 226 -297 229 -289
rect 233 -304 236 -289
rect 242 -291 245 -289
rect 249 -291 252 -289
rect 226 -310 229 -308
rect 233 -310 236 -308
rect 242 -310 245 -295
rect 258 -298 261 -289
rect 265 -291 268 -289
rect 249 -310 252 -302
rect 258 -310 261 -308
rect 265 -310 268 -295
rect 274 -304 277 -289
rect 281 -291 284 -289
rect 302 -284 305 -282
rect 290 -294 293 -293
rect 274 -310 277 -308
rect 281 -310 284 -302
rect 290 -306 293 -298
rect 169 -324 172 -313
rect 178 -315 181 -313
rect 195 -316 198 -313
rect 201 -315 204 -313
rect 197 -320 198 -316
rect 290 -318 293 -316
rect 226 -322 229 -320
rect 233 -322 236 -320
rect 242 -322 245 -320
rect 249 -322 252 -320
rect 185 -324 189 -322
rect 169 -327 177 -324
rect 185 -327 195 -324
rect 202 -326 203 -322
rect 174 -328 177 -327
rect 192 -328 195 -327
rect 201 -327 207 -326
rect 201 -328 204 -327
rect 258 -326 261 -320
rect 265 -322 268 -320
rect 274 -322 277 -320
rect 281 -322 284 -320
rect 293 -323 296 -321
rect 258 -330 259 -326
rect 237 -333 243 -330
rect 253 -333 255 -330
rect 267 -333 273 -330
rect 283 -333 287 -330
rect 284 -334 287 -333
rect 293 -334 296 -333
rect 284 -337 296 -334
rect 174 -340 177 -338
rect 192 -340 195 -338
rect 201 -340 204 -338
<< polycontact >>
rect 228 -218 232 -214
rect 237 -218 241 -214
rect 246 -218 250 -214
rect 267 -218 271 -214
rect 276 -218 280 -214
rect 285 -218 289 -214
rect 181 -263 185 -259
rect 202 -260 206 -256
rect 231 -262 235 -258
rect 190 -267 194 -263
rect 270 -262 274 -258
rect 249 -267 253 -263
rect 284 -267 288 -263
rect 164 -295 168 -291
rect 184 -295 188 -291
rect 204 -299 208 -295
rect 225 -301 229 -297
rect 241 -295 245 -291
rect 233 -308 237 -304
rect 249 -302 253 -298
rect 257 -302 261 -298
rect 265 -295 269 -291
rect 290 -298 294 -294
rect 273 -308 277 -304
rect 281 -302 285 -298
rect 185 -322 189 -318
rect 193 -320 197 -316
rect 203 -326 207 -322
rect 225 -326 229 -322
rect 237 -330 241 -326
rect 259 -330 263 -326
rect 267 -330 271 -326
<< metal1 >>
rect 155 -234 160 -211
rect 218 -227 223 -211
rect 242 -213 246 -208
rect 228 -214 289 -213
rect 232 -216 237 -214
rect 241 -216 246 -214
rect 250 -216 267 -214
rect 271 -216 276 -214
rect 280 -216 285 -214
rect 294 -216 316 -211
rect 293 -217 316 -216
rect 293 -221 303 -217
rect 307 -221 316 -217
rect 232 -224 246 -221
rect 254 -227 263 -221
rect 271 -224 285 -221
rect 293 -227 316 -221
rect 218 -231 219 -227
rect 223 -231 237 -228
rect 254 -228 255 -227
rect 241 -231 255 -228
rect 262 -228 263 -227
rect 262 -231 276 -228
rect 293 -228 294 -227
rect 280 -231 294 -228
rect 298 -231 316 -227
rect 218 -232 224 -231
rect 179 -235 196 -232
rect 179 -236 182 -235
rect 193 -256 196 -235
rect 217 -241 224 -232
rect 232 -238 246 -234
rect 254 -241 263 -231
rect 293 -234 316 -231
rect 271 -238 285 -234
rect 293 -241 307 -234
rect 217 -244 219 -241
rect 212 -245 219 -244
rect 223 -245 237 -241
rect 241 -245 255 -241
rect 262 -245 276 -241
rect 280 -245 294 -241
rect 298 -245 307 -241
rect 212 -247 307 -245
rect 212 -253 225 -247
rect 236 -250 264 -247
rect 275 -250 307 -247
rect 191 -259 196 -256
rect 178 -263 181 -259
rect 191 -263 194 -259
rect 157 -291 161 -264
rect 178 -270 182 -263
rect 199 -263 206 -260
rect 199 -270 202 -263
rect 221 -270 225 -253
rect 200 -274 202 -270
rect 157 -295 164 -291
rect 157 -313 161 -295
rect 178 -298 181 -288
rect 178 -301 186 -298
rect 182 -303 186 -301
rect 197 -303 200 -287
rect 209 -279 221 -270
rect 236 -254 237 -250
rect 256 -254 264 -250
rect 275 -254 276 -250
rect 295 -254 307 -250
rect 228 -258 232 -254
rect 228 -262 231 -258
rect 228 -271 232 -262
rect 247 -263 249 -259
rect 228 -275 237 -271
rect 216 -297 220 -286
rect 257 -276 261 -254
rect 267 -258 271 -254
rect 267 -262 270 -258
rect 267 -271 272 -262
rect 281 -267 284 -263
rect 291 -265 295 -254
rect 306 -263 313 -262
rect 291 -269 297 -265
rect 291 -271 295 -269
rect 267 -273 269 -271
rect 289 -276 295 -271
rect 310 -285 313 -263
rect 298 -288 300 -287
rect 298 -291 313 -288
rect 245 -294 253 -291
rect 257 -294 265 -291
rect 216 -302 225 -297
rect 229 -301 249 -298
rect 265 -301 281 -298
rect 164 -317 168 -313
rect 155 -321 168 -317
rect 183 -318 186 -309
rect 197 -307 205 -303
rect 203 -313 205 -307
rect 212 -307 225 -302
rect 155 -329 173 -321
rect 183 -322 185 -318
rect 197 -320 198 -316
rect 155 -344 169 -329
rect 195 -337 198 -320
rect 203 -322 207 -313
rect 212 -316 216 -307
rect 237 -308 273 -305
rect 297 -307 313 -291
rect 298 -311 308 -307
rect 312 -311 313 -307
rect 210 -319 216 -316
rect 219 -319 221 -311
rect 210 -329 213 -319
rect 219 -322 222 -319
rect 209 -334 213 -329
rect 217 -329 222 -322
rect 237 -326 241 -319
rect 251 -319 253 -311
rect 217 -332 234 -329
rect 217 -336 226 -332
rect 230 -333 234 -332
rect 251 -333 255 -319
rect 267 -322 273 -319
rect 267 -326 271 -322
rect 285 -323 289 -319
rect 285 -324 290 -323
rect 285 -332 288 -324
rect 301 -332 305 -329
rect 285 -333 290 -332
rect 230 -334 290 -333
rect 230 -336 244 -334
rect 217 -337 244 -336
rect 178 -340 198 -337
rect 213 -338 244 -337
rect 252 -338 274 -334
rect 282 -335 290 -334
rect 308 -335 316 -317
rect 282 -338 316 -335
rect 213 -344 316 -338
<< m2contact >>
rect 160 -234 164 -211
rect 213 -232 218 -211
rect 169 -246 173 -242
rect 186 -246 190 -242
rect 199 -241 203 -237
rect 199 -249 203 -245
rect 169 -281 173 -277
rect 187 -281 191 -277
rect 188 -295 192 -291
rect 244 -267 249 -263
rect 237 -281 241 -277
rect 216 -286 220 -282
rect 208 -299 212 -295
rect 277 -267 281 -263
rect 269 -281 273 -277
rect 306 -285 310 -281
rect 253 -295 257 -291
rect 261 -302 265 -298
rect 290 -302 294 -298
rect 164 -313 168 -309
rect 190 -313 194 -309
rect 187 -329 191 -325
rect 169 -344 173 -333
rect 229 -308 233 -304
rect 308 -311 312 -307
rect 237 -315 241 -311
rect 229 -326 233 -322
rect 269 -315 273 -311
rect 244 -325 248 -321
rect 259 -326 263 -322
rect 277 -325 281 -321
rect 301 -329 305 -325
rect 209 -344 213 -337
<< metal2 >>
rect 164 -232 213 -211
rect 164 -234 191 -232
rect 169 -242 191 -234
rect 173 -246 186 -242
rect 190 -246 191 -242
rect 169 -277 191 -246
rect 199 -244 203 -241
rect 199 -245 220 -244
rect 203 -249 220 -245
rect 173 -281 187 -277
rect 216 -282 220 -249
rect 188 -291 226 -289
rect 192 -292 226 -291
rect 168 -313 190 -309
rect 164 -325 194 -313
rect 164 -329 187 -325
rect 191 -329 194 -325
rect 164 -333 194 -329
rect 164 -344 169 -333
rect 173 -337 194 -333
rect 208 -331 212 -299
rect 222 -329 226 -292
rect 229 -304 233 -208
rect 237 -311 241 -281
rect 237 -319 241 -315
rect 245 -298 249 -267
rect 253 -291 257 -208
rect 284 -267 288 -263
rect 245 -301 261 -298
rect 245 -321 249 -301
rect 269 -311 273 -281
rect 269 -319 273 -315
rect 277 -294 281 -267
rect 301 -285 306 -281
rect 277 -297 294 -294
rect 233 -325 244 -322
rect 248 -325 249 -321
rect 277 -321 281 -297
rect 290 -298 294 -297
rect 263 -325 277 -322
rect 301 -325 305 -285
rect 208 -334 219 -331
rect 222 -333 305 -329
rect 216 -337 219 -334
rect 308 -337 312 -311
rect 173 -344 209 -337
rect 216 -340 312 -337
rect 216 -341 311 -340
<< labels >>
rlabel metal1 314 -344 316 -317 1 Vneg
rlabel metal1 315 -234 316 -211 1 Vpos
rlabel metal1 312 -311 313 -288 1 Qb
rlabel metal2 229 -209 233 -208 1 ClkB
rlabel metal2 253 -209 257 -208 1 Clk
rlabel metal1 242 -209 246 -208 1 RstB
rlabel pwell 212 -344 214 -317 3 Vneg
rlabel metal1 312 -285 313 -262 1 Q
rlabel metal1 157 -313 158 -264 3 T
rlabel metal1 155 -344 156 -317 3 Vneg
rlabel metal1 155 -234 156 -211 3 Vpos
<< end >>
